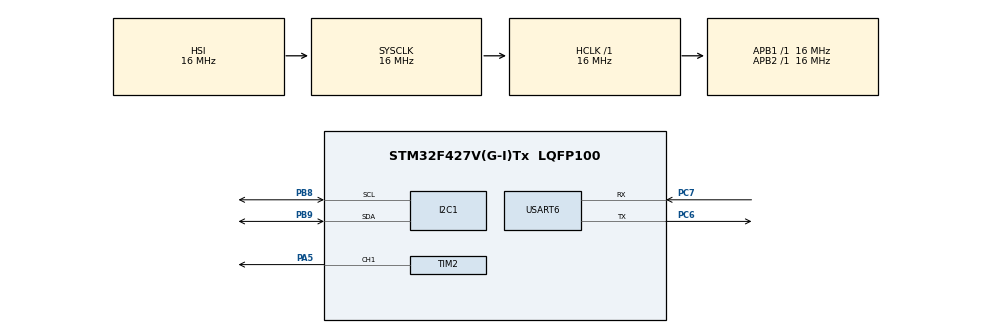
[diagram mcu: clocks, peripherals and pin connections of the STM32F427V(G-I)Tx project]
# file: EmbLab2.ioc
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FREERTOS.Tasks01=defaultTask,0,128,StartDefaultTask,Default,NULL,Dynamic,NULL,NULL
I2C1.Analog_Filter=I2C_ANALOGFILTER_DISABLE
Mcu.Family=STM32F4
Mcu.Name=STM32F427V(G-I)Tx
Mcu.Package=LQFP100
NVIC.PriorityGroup=NVIC_PRIORITYGROUP_4
PA13.Mode=JTAG_5_pins
PA13.Signal=SYS_JTMS-SWDIO
PA14.Mode=JTAG_5_pins
PA14.Signal=SYS_JTCK-SWCLK
PA15.Mode=JTAG_5_pins
PA15.Signal=SYS_JTDI
PA5.Signal=S_TIM2_CH1_ETR
PB3.Mode=JTAG_5_pins
PB3.Signal=SYS_JTDO-SWO
PB4.Mode=JTAG_5_pins
PB4.Signal=SYS_JTRST
PB8.Mode=I2C
PB8.Signal=I2C1_SCL
PB9.Mode=I2C
PB9.Signal=I2C1_SDA
PC6.Mode=Asynchronous
PC6.Signal=USART6_TX
PC7.Mode=Asynchronous
PC7.Signal=USART6_RX
PH0/OSC_IN.Signal=RCC_OSC_IN
PH1/OSC_OUT.Signal=RCC_OSC_OUT
ProjectManager.HeapSize=0x200
ProjectManager.StackSize=0x400
ProjectManager.TargetToolchain=STM32CubeIDE
RCC.AHBFreq_Value=16000000
RCC.APB1Freq_Value=16000000
RCC.APB2Freq_Value=16000000
RCC.CortexFreq_Value=16000000
RCC.HSE_VALUE=25000000
RCC.HSI_VALUE=16000000
RCC.LSE_VALUE=32768
RCC.SYSCLKFreq_VALUE=16000000
RCC.VCOOutputFreq_Value=192000000
SH.S_TIM2_CH1_ETR.0=TIM2_CH1,PWM Generation1 CH1
TIM2.Channel-PWM\ Generation1\ CH1=TIM_CHANNEL_1
USART6.VirtualMode=VM_ASYNC
VP_FREERTOS_VS_CMSIS_V1.Mode=CMSIS_V1
board=custom

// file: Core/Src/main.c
/* USER CODE BEGIN Header */
/**
  ******************************************************************************
  * @file           : main.c
  * @brief          : Main program body
  ******************************************************************************
  * @attention
  * Copyright (c) 2025 STMicroelectronics.
  * All rights reserved.
  * This software is licensed under terms that can be found in the LICENSE file
  * in the root directory of this software component.
  * If no LICENSE file comes with this software, it is provided AS-IS.
  ******************************************************************************
  */
/* USER CODE END Header */
#include "main.h"
#include "cmsis_os.h"
#include "i2c.h"
#include "tim.h"
#include "usart.h"
#include "gpio.h"

/* USER CODE BEGIN Includes */
#include <stdio.h>
#include <string.h>
#include <inttypes.h>
#include "oled.h"
#include "sdk_uart.h"
#include "kb.h"
#include "tetris.h"
#include "buzzer.h"
#include "FreeRTOS.h"
#include "task.h"
#include "queue.h"
#include "semphr.h"
/* USER CODE END Includes */

/* USER CODE BEGIN PV */
// Глобальная структура игры
static TetrisGame tetris_game;

// Очереди и семафоры для синхронизации задач
static QueueHandle_t key_queue = NULL;
static SemaphoreHandle_t display_mutex = NULL;
static SemaphoreHandle_t game_mutex = NULL;

// Переменная для управления звуком
static uint32_t sound_off_time = 0;
/* USER CODE END PV */

void SystemClock_Config(void);
void MX_FREERTOS_Init(void);
/* USER CODE BEGIN PFP */
uint8_t Get_KeyCode(void);
void vKeyboardTask(void *pvParameters);
void vGameTask(void *pvParameters);
void vDisplayTask(void *pvParameters);
/* USER CODE END PFP */

int main(void)
{

  /* MCU Configuration--------------------------------------------------------*/

  /* Reset of all peripherals, Initializes the Flash interface and the Systick. */
  HAL_Init();

  /* Configure the system clock */
  SystemClock_Config();

  /* Initialize all configured peripherals */
  MX_GPIO_Init();
  MX_I2C1_Init();
  MX_USART6_UART_Init();
  MX_TIM2_Init();
  /* USER CODE BEGIN 2 */
  oled_Init();
  UART_Transmit((uint8_t*)"Tetris Game with FreeRTOS\r\n");

  // Инициализация игры
  Tetris_Init(&tetris_game);

  // Инициализация buzzer
  Buzzer_Init();
  Buzzer_Set_Volume(BUZZER_VOLUME_MUTE);

  // Создание очереди для клавиатуры
  key_queue = xQueueCreate(10, sizeof(uint8_t));
  if (key_queue == NULL) {
    Error_Handler();
  }

  // Создание мьютекса для дисплея
  display_mutex = xSemaphoreCreateMutex();
  if (display_mutex == NULL) {
    Error_Handler();
  }

  // Создание мьютекса для игры
  game_mutex = xSemaphoreCreateMutex();
  if (game_mutex == NULL) {
    Error_Handler();
  }

  // Создание задач FreeRTOS
  xTaskCreate(vKeyboardTask, "Keyboard", configMINIMAL_STACK_SIZE * 2, NULL, 2, NULL);
  xTaskCreate(vGameTask, "Game", configMINIMAL_STACK_SIZE * 4, NULL, 3, NULL);
  xTaskCreate(vDisplayTask, "Display", configMINIMAL_STACK_SIZE * 4, NULL, 1, NULL);

  // Запуск планировщика FreeRTOS
  vTaskStartScheduler();
  /* USER CODE END 2 */

  /* Call init function for freertos objects (in cmsis_os2.c) */
  MX_FREERTOS_Init();

  /* Start scheduler */
  osKernelStart();

  /* We should never get here as control is now taken by the scheduler */

  /* Infinite loop */
  while (1)
  {

  }
}

void SystemClock_Config(void)
{
  RCC_OscInitTypeDef RCC_OscInitStruct = {0};
  RCC_ClkInitTypeDef RCC_ClkInitStruct = {0};

  /** Configure the main internal regulator output voltage
  */
  __HAL_RCC_PWR_CLK_ENABLE();
  __HAL_PWR_VOLTAGESCALING_CONFIG(PWR_REGULATOR_VOLTAGE_SCALE3);

  /** Initializes the RCC Oscillators according to the specified parameters
  * in the RCC_OscInitTypeDef structure.
  */
  RCC_OscInitStruct.OscillatorType = RCC_OSCILLATORTYPE_HSI;
  RCC_OscInitStruct.HSIState = RCC_HSI_ON;
  RCC_OscInitStruct.HSICalibrationValue = RCC_HSICALIBRATION_DEFAULT;
  RCC_OscInitStruct.PLL.PLLState = RCC_PLL_NONE;
  if (HAL_RCC_OscConfig(&RCC_OscInitStruct) != HAL_OK)
  {
    Error_Handler();
  }

  /** Initializes the CPU, AHB and APB buses clocks
  */
  RCC_ClkInitStruct.ClockType = RCC_CLOCKTYPE_HCLK|RCC_CLOCKTYPE_SYSCLK
                              |RCC_CLOCKTYPE_PCLK1|RCC_CLOCKTYPE_PCLK2;
  RCC_ClkInitStruct.SYSCLKSource = RCC_SYSCLKSOURCE_HSI;
  RCC_ClkInitStruct.AHBCLKDivider = RCC_SYSCLK_DIV1;
  RCC_ClkInitStruct.APB1CLKDivider = RCC_HCLK_DIV1;
  RCC_ClkInitStruct.APB2CLKDivider = RCC_HCLK_DIV1;

  if (HAL_RCC_ClockConfig(&RCC_ClkInitStruct, FLASH_LATENCY_0) != HAL_OK)
  {
    Error_Handler();
  }
}

/* USER CODE BEGIN 4 */
uint8_t Get_KeyCode(void)
{
  const uint8_t row_constants[4] = {ROW1, ROW2, ROW3, ROW4};
  for (uint8_t row = 0; row < 4; row++) {
    uint8_t col_code = Check_Row(row_constants[row]);
    if (col_code != 0x00) {
      uint8_t col;
      switch (col_code) { case 0x01: col = 2; break; case 0x02: col = 1; break; case 0x04: col = 0; break; default: return 0xFF; }
      return (uint8_t)(row * 3 + col);
    }
  }
  return 0xFF;
}

// Задача обработки клавиатуры
void vKeyboardTask(void *pvParameters)
{
  uint8_t old_code = 0xFF;
  uint8_t code;
  uint32_t last_send_time = 0;

  (void)pvParameters;

  while (1) {
    code = Get_KeyCode();

    if (code == 0xFF) {
      old_code = 0xFF;
      // Сбросить флаг ускоренного падения
      if (xSemaphoreTake(game_mutex, pdMS_TO_TICKS(10)) == pdTRUE) {
        tetris_game.fast_drop = false;
        xSemaphoreGive(game_mutex);
      }
    } else {
      uint32_t current_time = HAL_GetTick();

      if (code != old_code) {
        // Новая кнопка нажата - отправить в очередь
        xQueueSend(key_queue, &code, 0);
        old_code = code;
        last_send_time = current_time;
      } else {
        // Та же кнопка удерживается
        // Для кнопки вниз (код 7) отправляем повторно для ускорения
        if (code == 7 && (current_time - last_send_time) >= 100) {
          xQueueSend(key_queue, &code, 0);
          last_send_time = current_time;
          // Установить флаг ускоренного падения
          if (xSemaphoreTake(game_mutex, pdMS_TO_TICKS(10)) == pdTRUE) {
            tetris_game.fast_drop = true;
            xSemaphoreGive(game_mutex);
          }
        }
      }
    }

    vTaskDelay(pdMS_TO_TICKS(20)); // Задержка 20 мс для более быстрой реакции
  }
}

// Задача игровой логики
void vGameTask(void *pvParameters)
{
  uint8_t key_code;

  (void)pvParameters;

  while (1) {
    // Обработка нажатий клавиш
    if (xQueueReceive(key_queue, &key_code, pdMS_TO_TICKS(10)) == pdTRUE) {
      // Захватить мьютекс для безопасного доступа к игре
      if (xSemaphoreTake(game_mutex, portMAX_DELAY) == pdTRUE) {
        // Маппинг клавиш для управления Тетрисом:
        // Клавиатура 4x3:
        // 7 8 9
        // 4 5 6
        // 1 2 3
        // < 0 >
        //
        // Управление:
        // 4 - влево
        // 6 - вправо
        // 2 - вниз (быстрое падение, ускорение при удержании)
        // 5 - поворот по часовой стрелке
        // 8 - поворот против часовой стрелки (кнопка 1)
        // 0 - пауза/продолжить

        if (!tetris_game.game_over) {
          switch (key_code) {
            case 3: // Кнопка 4 (влево)
              Tetris_MovePiece(&tetris_game, -1, 0);
              break;
            case 5: // Кнопка 6 (вправо)
              Tetris_MovePiece(&tetris_game, 1, 0);
              break;
            case 7: // Кнопка 2 (вниз)
              Tetris_DropPiece(&tetris_game);
              break;
            case 4: // Кнопка 5 (поворот по часовой)
              Tetris_RotatePiece(&tetris_game);
              break;
            case 6: // Кнопка 1 (поворот против часовой)
              Tetris_RotatePieceCounterClockwise(&tetris_game);
              break;
            case 10: // Кнопка 0 (пауза)
              tetris_game.paused = !tetris_game.paused;
              break;
            default:
              break;
          }
        } else {
          // После окончания игры любая клавиша перезапускает игру
          Tetris_Init(&tetris_game);
        }

        // Освободить мьютекс
        xSemaphoreGive(game_mutex);
      }
    }

    // Обновление игровой логики
    if (xSemaphoreTake(game_mutex, pdMS_TO_TICKS(10)) == pdTRUE) {
      uint32_t lines_cleared_before = tetris_game.lines_cleared;
      Tetris_Update(&tetris_game);

      // Если линии были удалены, установить время выключения звука
      if (tetris_game.lines_cleared > lines_cleared_before) {
        // Звук уже включен в Tetris_ClearLines, выключим через 150мс
        sound_off_time = HAL_GetTick() + 150;
      }

      xSemaphoreGive(game_mutex);
    }

    // Выключить звук если прошло достаточно времени
    uint32_t current_time = HAL_GetTick();
    if (sound_off_time > 0 && current_time >= sound_off_time) {
      Buzzer_Set_Volume(BUZZER_VOLUME_MUTE);
      sound_off_time = 0;
    }

    vTaskDelay(pdMS_TO_TICKS(10)); // Небольшая задержка
  }
}

// Задача отрисовки
void vDisplayTask(void *pvParameters)
{
  (void)pvParameters;

  while (1) {
    // Захватить мьютексы для безопасного доступа к игре и дисплею
    if (xSemaphoreTake(game_mutex, portMAX_DELAY) == pdTRUE) {
      if (xSemaphoreTake(display_mutex, portMAX_DELAY) == pdTRUE) {
        // Отрисовать игру
        Tetris_Draw(&tetris_game);
        oled_UpdateScreen();

        // Освободить мьютексы
        xSemaphoreGive(display_mutex);
      }
      xSemaphoreGive(game_mutex);
    }

    vTaskDelay(pdMS_TO_TICKS(50)); // Обновление экрана каждые 50 мс
  }
}
/* USER CODE END 4 */

void Error_Handler(void)
{
  __disable_irq();
  while (1)
  {
  }
}

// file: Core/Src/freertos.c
/* USER CODE BEGIN Header */
/**
  ******************************************************************************
  * File Name          : freertos.c
  * Description        : Code for freertos applications
  ******************************************************************************
  * @attention
  *
  * Copyright (c) 2025 STMicroelectronics.
  * All rights reserved.
  *
  * This software is licensed under terms that can be found in the LICENSE file
  * in the root directory of this software component.
  * If no LICENSE file comes with this software, it is provided AS-IS.
  *
  ******************************************************************************
  */
/* USER CODE END Header */

#include "FreeRTOS.h"
#include "task.h"
#include "main.h"
#include "cmsis_os.h"

osThreadId defaultTaskHandle;

void StartDefaultTask(void const * argument);

void MX_FREERTOS_Init(void); /* (MISRA C 2004 rule 8.1) */

/* GetIdleTaskMemory prototype (linked to static allocation support) */
void vApplicationGetIdleTaskMemory( StaticTask_t **ppxIdleTaskTCBBuffer, StackType_t **ppxIdleTaskStackBuffer, uint32_t *pulIdleTaskStackSize );

/* USER CODE BEGIN GET_IDLE_TASK_MEMORY */
static StaticTask_t xIdleTaskTCBBuffer;
static StackType_t xIdleStack[configMINIMAL_STACK_SIZE];

void vApplicationGetIdleTaskMemory( StaticTask_t **ppxIdleTaskTCBBuffer, StackType_t **ppxIdleTaskStackBuffer, uint32_t *pulIdleTaskStackSize )
{
  *ppxIdleTaskTCBBuffer = &xIdleTaskTCBBuffer;
  *ppxIdleTaskStackBuffer = &xIdleStack[0];
  *pulIdleTaskStackSize = configMINIMAL_STACK_SIZE;
  /* place for user code */
}
/* USER CODE END GET_IDLE_TASK_MEMORY */

void MX_FREERTOS_Init(void) {

  /* Create the thread(s) */
  /* definition and creation of defaultTask */
  osThreadDef(defaultTask, StartDefaultTask, osPriorityNormal, 0, 128);
  defaultTaskHandle = osThreadCreate(osThread(defaultTask), NULL);

}

void StartDefaultTask(void const * argument)
{
  for(;;)
  {
    osDelay(1);
  }
}
